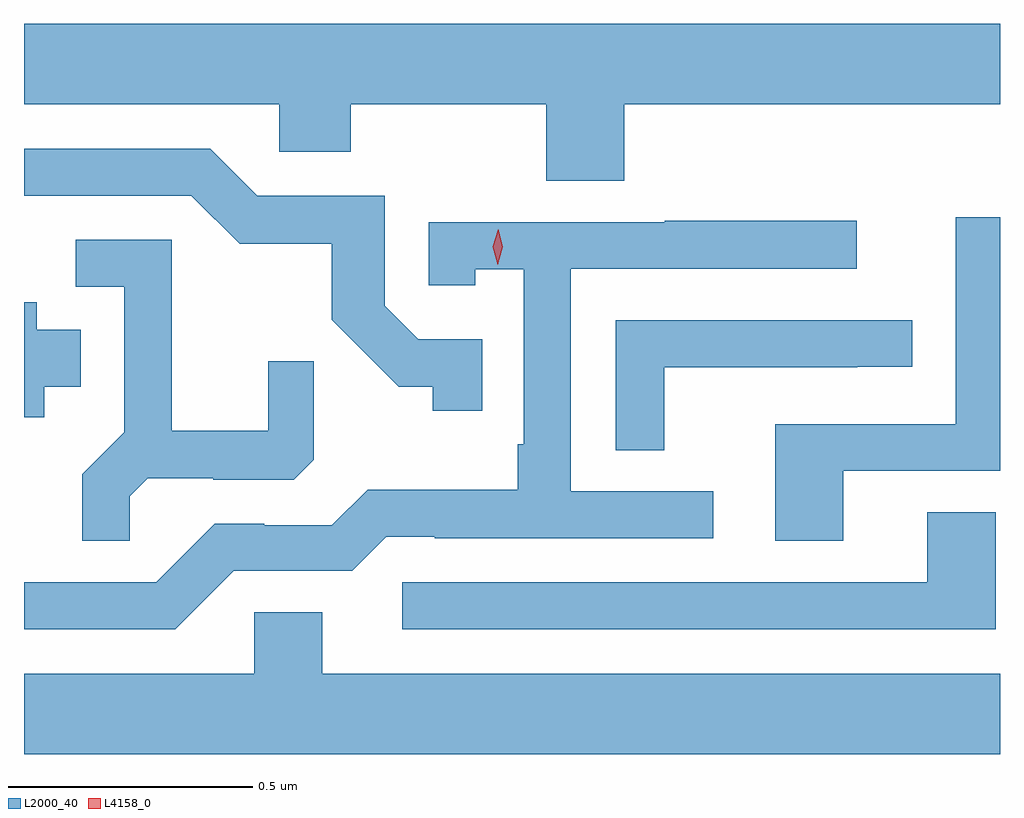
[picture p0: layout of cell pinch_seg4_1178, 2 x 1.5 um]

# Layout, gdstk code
import gdstk
lib = gdstk.Library(unit=1e-6, precision=1e-09)
def P(c, l, *ps):  # polygons
    for p in ps: c.add(gdstk.Polygon(p, *l))
L2000_40 = (2000, 40)
L4158_0 = (4158, 0)

pinch_seg4_1178 = lib.new_cell('pinch_seg4_1178')
P(pinch_seg4_1178, L2000_40, [(420.68,763.52),(421.45,763.52),(421.45,763.684),(419.45,763.684),(419.45,763.52),(419.973,763.52),(419.973,763.422),(420.12,763.422),(420.12,763.52),(420.52,763.52),(420.52,763.363),(420.68,763.363)],
  [(420.389,763.038),(420.258,763.038),(420.189,763.107),(420.189,763.332),(419.928,763.332),(419.832,763.428),(419.45,763.428),(419.45,763.332),(419.793,763.332),(419.892,763.234),(420.081,763.234),(420.081,763.078),(420.218,762.941),(420.288,762.941),(420.288,762.891),(420.389,762.891)],
  [(421.129,762.768),(421.45,762.768),(421.45,763.288),(421.359,763.288),(421.359,762.864),(420.989,762.864),(420.989,762.625),(421.129,762.625)],
  [(419.88,762.564),(420.123,762.564),(420.192,762.633),(420.292,762.633),(420.292,762.63),(420.862,762.63),(420.862,762.726),(420.57,762.726),(420.57,763.182),(421.156,763.182),(421.156,763.281),(420.763,763.281),(420.763,763.278),(420.279,763.278),(420.279,763.149),(420.375,763.149),(420.375,763.181),(420.474,763.181),(420.474,762.823),(420.462,762.823),(420.462,762.73),(420.154,762.73),(420.081,762.657),(419.942,762.657),(419.942,762.66),(419.841,762.66),(419.721,762.54),(419.45,762.54),(419.45,762.444),(419.76,762.444)],
  [(419.667,762.716),(419.704,762.753),(419.838,762.753),(419.838,762.75),(420.003,762.75),(420.044,762.791),(420.044,762.993),(419.95,762.993),(419.95,762.85),(419.753,762.85),(419.753,763.242),(419.556,763.242),(419.556,763.146),(419.655,763.146),(419.655,762.847),(419.569,762.761),(419.569,762.625),(419.667,762.625)],
  [(419.491,762.941),(419.566,762.941),(419.566,763.057),(419.476,763.057),(419.476,763.114),(419.45,763.114),(419.45,762.878),(419.491,762.878)],
  [(420.762,762.981),(421.157,762.981),(421.157,762.982),(421.27,762.982),(421.27,763.077),(420.663,763.077),(420.663,762.811),(420.762,762.811)],
  [(421.441,762.683),(421.301,762.683),(421.301,762.54),(420.225,762.54),(420.225,762.444),(421.441,762.444)],
  [(421.45,762.352),(420.061,762.352),(420.061,762.479),(419.922,762.479),(419.922,762.352),(419.45,762.352),(419.45,762.188),(421.45,762.188)])
P(pinch_seg4_1178, L4158_0, [(420.421,763.191),(420.421,763.191),(420.411,763.227),(420.422,763.263),(420.422,763.263),(420.422,763.263),(420.431,763.227),(420.421,763.191)])

lib.write_gds('pinch_seg4_1178.gds')
